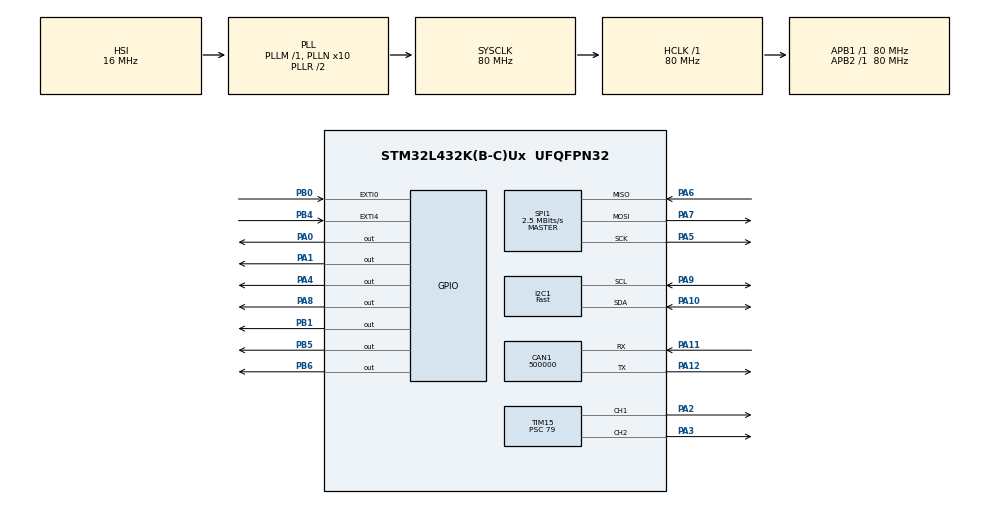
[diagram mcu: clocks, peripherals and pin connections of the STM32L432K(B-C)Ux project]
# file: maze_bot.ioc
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CAN1.BS1=CAN_BS1_5TQ
CAN1.BS2=CAN_BS2_4TQ
CAN1.CalculateBaudRate=500000
CAN1.CalculateTimeBit=2000
CAN1.CalculateTimeQuantum=200.0
Dma.Request0=SPI1_RX
Dma.Request1=SPI1_TX
Dma.Request2=TIM15_CH1/UP/TRIG/COM
Dma.SPI1_RX.0.Direction=DMA_PERIPH_TO_MEMORY
Dma.SPI1_RX.0.Instance=DMA2_Channel3
Dma.SPI1_RX.0.MemDataAlignment=DMA_MDATAALIGN_BYTE
Dma.SPI1_RX.0.MemInc=DMA_MINC_ENABLE
Dma.SPI1_RX.0.Mode=DMA_NORMAL
Dma.SPI1_RX.0.PeriphDataAlignment=DMA_PDATAALIGN_BYTE
Dma.SPI1_RX.0.PeriphInc=DMA_PINC_DISABLE
Dma.SPI1_RX.0.Priority=DMA_PRIORITY_LOW
Dma.SPI1_TX.1.Direction=DMA_MEMORY_TO_PERIPH
Dma.SPI1_TX.1.Instance=DMA2_Channel4
Dma.SPI1_TX.1.MemDataAlignment=DMA_MDATAALIGN_BYTE
Dma.SPI1_TX.1.MemInc=DMA_MINC_ENABLE
Dma.SPI1_TX.1.Mode=DMA_NORMAL
Dma.SPI1_TX.1.PeriphDataAlignment=DMA_PDATAALIGN_BYTE
Dma.SPI1_TX.1.PeriphInc=DMA_PINC_DISABLE
Dma.SPI1_TX.1.Priority=DMA_PRIORITY_LOW
Dma.TIM15_CH1/UP/TRIG/COM.2.Direction=DMA_MEMORY_TO_PERIPH
Dma.TIM15_CH1/UP/TRIG/COM.2.Instance=DMA1_Channel5
Dma.TIM15_CH1/UP/TRIG/COM.2.MemDataAlignment=DMA_MDATAALIGN_HALFWORD
Dma.TIM15_CH1/UP/TRIG/COM.2.MemInc=DMA_MINC_ENABLE
Dma.TIM15_CH1/UP/TRIG/COM.2.Mode=DMA_CIRCULAR
Dma.TIM15_CH1/UP/TRIG/COM.2.PeriphDataAlignment=DMA_PDATAALIGN_HALFWORD
Dma.TIM15_CH1/UP/TRIG/COM.2.PeriphInc=DMA_PINC_DISABLE
Dma.TIM15_CH1/UP/TRIG/COM.2.Priority=DMA_PRIORITY_LOW
I2C1.I2C_Speed_Mode=I2C_Fast
I2C1.Timing=0x00F12981
Mcu.Family=STM32L4
Mcu.Name=STM32L432K(B-C)Ux
Mcu.Package=UFQFPN32
NVIC.CAN1_RX0_IRQn=true\:0\:0\:false\:false\:true\:true\:true\:true
NVIC.CAN1_RX1_IRQn=true\:0\:0\:false\:false\:true\:true\:true\:true
NVIC.DMA1_Channel5_IRQn=true\:0\:0\:false\:false\:true\:false\:true\:true
NVIC.DMA2_Channel3_IRQn=true\:0\:0\:true\:false\:true\:false\:true\:true
NVIC.DMA2_Channel4_IRQn=true\:0\:0\:false\:false\:true\:false\:true\:true
NVIC.EXTI0_IRQn=true\:0\:0\:true\:false\:true\:true\:true\:true
NVIC.EXTI4_IRQn=true\:0\:0\:true\:false\:true\:true\:true\:true
NVIC.PriorityGroup=NVIC_PRIORITYGROUP_4
PA0.Signal=GPIO_Output
PA1.PinState=GPIO_PIN_SET
PA1.Signal=GPIO_Output
PA10.Mode=I2C
PA10.Signal=I2C1_SDA
PA11.Mode=CAN_Activate
PA11.Signal=CAN1_RX
PA12.Mode=CAN_Activate
PA12.Signal=CAN1_TX
PA13\ (JTMS-SWDIO).Mode=Trace_Asynchronous_SW
PA13\ (JTMS-SWDIO).Signal=SYS_JTMS-SWDIO
PA14\ (JTCK-SWCLK).Mode=Trace_Asynchronous_SW
PA14\ (JTCK-SWCLK).Signal=SYS_JTCK-SWCLK
PA2.Signal=S_TIM15_CH1
PA3.Signal=S_TIM15_CH2
PA4.PinState=GPIO_PIN_SET
PA4.Signal=GPIO_Output
PA5.Mode=Full_Duplex_Master
PA5.Signal=SPI1_SCK
PA6.Mode=Full_Duplex_Master
PA6.Signal=SPI1_MISO
PA7.Mode=Full_Duplex_Master
PA7.Signal=SPI1_MOSI
PA8.Signal=GPIO_Output
PA9.Mode=I2C
PA9.Signal=I2C1_SCL
PB0.GPIO_ModeDefaultEXTI=GPIO_MODE_IT_FALLING
PB0.GPIO_PuPd=GPIO_PULLUP
PB0.Signal=GPXTI0
PB1.PinState=GPIO_PIN_SET
PB1.Signal=GPIO_Output
PB3\ (JTDO-TRACESWO).Mode=Trace_Asynchronous_SW
PB3\ (JTDO-TRACESWO).Signal=SYS_JTDO-SWO
PB4\ (NJTRST).GPIO_ModeDefaultEXTI=GPIO_MODE_IT_FALLING
PB4\ (NJTRST).GPIO_PuPd=GPIO_NOPULL
PB4\ (NJTRST).Signal=GPXTI4
PB5.GPIO_PuPd=GPIO_NOPULL
PB5.PinState=GPIO_PIN_SET
PB5.Signal=GPIO_Output
PB6.Signal=GPIO_Output
ProjectManager.HeapSize=0x200
ProjectManager.StackSize=0x400
ProjectManager.TargetToolchain=CMake
RCC.ADCFreq_Value=64000000
RCC.AHBFreq_Value=80000000
RCC.APB1Freq_Value=80000000
RCC.APB1TimFreq_Value=80000000
RCC.APB2Freq_Value=80000000
RCC.APB2TimFreq_Value=80000000
RCC.CortexFreq_Value=80000000
RCC.HCLKFreq_Value=80000000
RCC.HSE_VALUE=8000000
RCC.HSI16_VALUE=16000000
RCC.HSI48_VALUE=48000000
RCC.HSI_VALUE=16000000
RCC.LSE_VALUE=32768
RCC.MSI_VALUE=4000000
RCC.PLLMUL=RCC_PLLMUL_4
RCC.PLLN=10
RCC.PLLSourceVirtual=RCC_PLLSOURCE_HSI
RCC.SYSCLKFreq_VALUE=80000000
RCC.SYSCLKSource=RCC_SYSCLKSOURCE_PLLCLK
RCC.USBFreq_Value=64000000
RCC.VCOOutputFreq_Value=160000000
SH.S_TIM15_CH1.0=TIM15_CH1,PWM Generation1 CH1
SH.S_TIM15_CH2.0=TIM15_CH2,PWM Generation2 CH2
SPI1.BaudRatePrescaler=SPI_BAUDRATEPRESCALER_32
SPI1.CLKPhase=SPI_PHASE_2EDGE
SPI1.CLKPolarity=SPI_POLARITY_HIGH
SPI1.CalculateBaudRate=2.5 MBits/s
SPI1.DataSize=SPI_DATASIZE_8BIT
SPI1.Direction=SPI_DIRECTION_2LINES
SPI1.Mode=SPI_MODE_MASTER
SPI1.VirtualType=VM_MASTER
TIM15.Channel-PWM\ Generation1\ CH1=TIM_CHANNEL_1
TIM15.Channel-PWM\ Generation2\ CH2=TIM_CHANNEL_2
TIM15.Period=100-1
TIM15.Prescaler=79
TIM2.Channel-PWM\ Generation1\ No\ Output=TIM_CHANNEL_1
TIM2.Prescaler=79
VP_TIM2_VS_no_output1.Mode=PWM Generation1 No Output
board=NUCLEO-L432KC

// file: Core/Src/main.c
/* USER CODE BEGIN Header */
/**
  ******************************************************************************
  * @file           : main.c
  * @brief          : Main program body
  ******************************************************************************
  * @attention
  *
  * Copyright (c) 2025 STMicroelectronics.
  * All rights reserved.
  *
  * This software is licensed under terms that can be found in the LICENSE file
  * in the root directory of this software component.
  * If no LICENSE file comes with this software, it is provided AS-IS.
  *
  ******************************************************************************
  */
/* USER CODE END Header */
#include "main.h"

/* USER CODE BEGIN Includes */
#include "bno085_runner.h"
#include "can.h"
#include "controls.h"
#include "drive.h"
#include "h_bridge_control.h"
#include "scheduler.h"
#include "state_machine.h"
#include "vl53l4cd_runner.h"
/* USER CODE END Includes */

CAN_HandleTypeDef hcan1;

I2C_HandleTypeDef hi2c1;

SPI_HandleTypeDef hspi1;
DMA_HandleTypeDef hdma_spi1_rx;
DMA_HandleTypeDef hdma_spi1_tx;

TIM_HandleTypeDef htim2;
TIM_HandleTypeDef htim15;
DMA_HandleTypeDef hdma_tim15_ch1_up_trig_com;

void SystemClock_Config(void);
static void MX_GPIO_Init(void);
static void MX_DMA_Init(void);
static void MX_SPI1_Init(void);
static void MX_TIM2_Init(void);
static void MX_I2C1_Init(void);
static void MX_TIM15_Init(void);
static void MX_CAN1_Init(void);

int main(void)
{

  /* MCU Configuration--------------------------------------------------------*/

  /* Reset of all peripherals, Initializes the Flash interface and the Systick. */
  HAL_Init();

  /* Configure the system clock */
  SystemClock_Config();

  /* Initialize all configured peripherals */
  MX_GPIO_Init();
  MX_DMA_Init();
  MX_SPI1_Init();
  MX_TIM2_Init();
  MX_I2C1_Init();
  MX_TIM15_Init();
  MX_CAN1_Init();

  /* Infinite loop */
  /* USER CODE BEGIN WHILE */
  HAL_Delay(1000);

  // Initialize CAN bus.
  can_init();

  // Initialize VL53L4CD.
  vl53l4cd_init();
  vl53l4cd_start();

  HAL_NVIC_DisableIRQ(EXTI4_IRQn);

  // Initialize scheduler (required for timers).
  scheduler_init();

  // Initialize BNO085.
  bno085_reset();
  bno085_init();

  // Initialize motor driver.
  h_bridge_command_init();

  // Initialize control loops.
  control_loops_init();

  // Initialize scheduler tasks.
  void (*heading_task)(void) = heading_loop;
  void (*yaw_rate_task)(void) = yaw_rate_loop;
  void (*state_machine_task)(void) = run_state_machine;
  void (*drive_task)(void) = drive;
  void (*tof_task)(void) = vl53l4cd_process;
  scheduler_add_task(heading_task, 10);
  scheduler_add_task(yaw_rate_task, 5);
  scheduler_add_task(state_machine_task, 10);
  scheduler_add_task(drive_task, 2);
  scheduler_add_task(tof_task, 100);

  HAL_NVIC_EnableIRQ(EXTI4_IRQn);

  while (1) {
    bno085_run();
    scheduler_run();
    /* USER CODE END WHILE */

  }
}

void SystemClock_Config(void)
{
  RCC_OscInitTypeDef RCC_OscInitStruct = {0};
  RCC_ClkInitTypeDef RCC_ClkInitStruct = {0};

  /** Configure the main internal regulator output voltage
  */
  if (HAL_PWREx_ControlVoltageScaling(PWR_REGULATOR_VOLTAGE_SCALE1) != HAL_OK)
  {
    Error_Handler();
  }

  /** Initializes the RCC Oscillators according to the specified parameters
  * in the RCC_OscInitTypeDef structure.
  */
  RCC_OscInitStruct.OscillatorType = RCC_OSCILLATORTYPE_HSI;
  RCC_OscInitStruct.HSIState = RCC_HSI_ON;
  RCC_OscInitStruct.HSICalibrationValue = RCC_HSICALIBRATION_DEFAULT;
  RCC_OscInitStruct.PLL.PLLState = RCC_PLL_ON;
  RCC_OscInitStruct.PLL.PLLSource = RCC_PLLSOURCE_HSI;
  RCC_OscInitStruct.PLL.PLLM = 1;
  RCC_OscInitStruct.PLL.PLLN = 10;
  RCC_OscInitStruct.PLL.PLLP = RCC_PLLP_DIV7;
  RCC_OscInitStruct.PLL.PLLQ = RCC_PLLQ_DIV2;
  RCC_OscInitStruct.PLL.PLLR = RCC_PLLR_DIV2;
  if (HAL_RCC_OscConfig(&RCC_OscInitStruct) != HAL_OK)
  {
    Error_Handler();
  }

  /** Initializes the CPU, AHB and APB buses clocks
  */
  RCC_ClkInitStruct.ClockType = RCC_CLOCKTYPE_HCLK|RCC_CLOCKTYPE_SYSCLK
                              |RCC_CLOCKTYPE_PCLK1|RCC_CLOCKTYPE_PCLK2;
  RCC_ClkInitStruct.SYSCLKSource = RCC_SYSCLKSOURCE_PLLCLK;
  RCC_ClkInitStruct.AHBCLKDivider = RCC_SYSCLK_DIV1;
  RCC_ClkInitStruct.APB1CLKDivider = RCC_HCLK_DIV1;
  RCC_ClkInitStruct.APB2CLKDivider = RCC_HCLK_DIV1;

  if (HAL_RCC_ClockConfig(&RCC_ClkInitStruct, FLASH_LATENCY_4) != HAL_OK)
  {
    Error_Handler();
  }
}

static void MX_CAN1_Init(void)
{

  hcan1.Instance = CAN1;
  hcan1.Init.Prescaler = 16;
  hcan1.Init.Mode = CAN_MODE_NORMAL;
  hcan1.Init.SyncJumpWidth = CAN_SJW_1TQ;
  hcan1.Init.TimeSeg1 = CAN_BS1_5TQ;
  hcan1.Init.TimeSeg2 = CAN_BS2_4TQ;
  hcan1.Init.TimeTriggeredMode = DISABLE;
  hcan1.Init.AutoBusOff = DISABLE;
  hcan1.Init.AutoWakeUp = DISABLE;
  hcan1.Init.AutoRetransmission = DISABLE;
  hcan1.Init.ReceiveFifoLocked = DISABLE;
  hcan1.Init.TransmitFifoPriority = DISABLE;
  if (HAL_CAN_Init(&hcan1) != HAL_OK)
  {
    Error_Handler();
  }

}

static void MX_I2C1_Init(void)
{

  hi2c1.Instance = I2C1;
  hi2c1.Init.Timing = 0x00F12981;
  hi2c1.Init.OwnAddress1 = 0;
  hi2c1.Init.AddressingMode = I2C_ADDRESSINGMODE_7BIT;
  hi2c1.Init.DualAddressMode = I2C_DUALADDRESS_DISABLE;
  hi2c1.Init.OwnAddress2 = 0;
  hi2c1.Init.OwnAddress2Masks = I2C_OA2_NOMASK;
  hi2c1.Init.GeneralCallMode = I2C_GENERALCALL_DISABLE;
  hi2c1.Init.NoStretchMode = I2C_NOSTRETCH_DISABLE;
  if (HAL_I2C_Init(&hi2c1) != HAL_OK)
  {
    Error_Handler();
  }

  /** Configure Analogue filter
  */
  if (HAL_I2CEx_ConfigAnalogFilter(&hi2c1, I2C_ANALOGFILTER_ENABLE) != HAL_OK)
  {
    Error_Handler();
  }

  /** Configure Digital filter
  */
  if (HAL_I2CEx_ConfigDigitalFilter(&hi2c1, 0) != HAL_OK)
  {
    Error_Handler();
  }

}

static void MX_SPI1_Init(void)
{

  /* SPI1 parameter configuration*/
  hspi1.Instance = SPI1;
  hspi1.Init.Mode = SPI_MODE_MASTER;
  hspi1.Init.Direction = SPI_DIRECTION_2LINES;
  hspi1.Init.DataSize = SPI_DATASIZE_8BIT;
  hspi1.Init.CLKPolarity = SPI_POLARITY_HIGH;
  hspi1.Init.CLKPhase = SPI_PHASE_2EDGE;
  hspi1.Init.NSS = SPI_NSS_SOFT;
  hspi1.Init.BaudRatePrescaler = SPI_BAUDRATEPRESCALER_32;
  hspi1.Init.FirstBit = SPI_FIRSTBIT_MSB;
  hspi1.Init.TIMode = SPI_TIMODE_DISABLE;
  hspi1.Init.CRCCalculation = SPI_CRCCALCULATION_DISABLE;
  hspi1.Init.CRCPolynomial = 7;
  hspi1.Init.CRCLength = SPI_CRC_LENGTH_DATASIZE;
  hspi1.Init.NSSPMode = SPI_NSS_PULSE_DISABLE;
  if (HAL_SPI_Init(&hspi1) != HAL_OK)
  {
    Error_Handler();
  }

}

static void MX_TIM2_Init(void)
{

  TIM_MasterConfigTypeDef sMasterConfig = {0};
  TIM_OC_InitTypeDef sConfigOC = {0};

  htim2.Instance = TIM2;
  htim2.Init.Prescaler = 79;
  htim2.Init.CounterMode = TIM_COUNTERMODE_UP;
  htim2.Init.Period = 4294967295;
  htim2.Init.ClockDivision = TIM_CLOCKDIVISION_DIV1;
  htim2.Init.AutoReloadPreload = TIM_AUTORELOAD_PRELOAD_DISABLE;
  if (HAL_TIM_PWM_Init(&htim2) != HAL_OK)
  {
    Error_Handler();
  }
  sMasterConfig.MasterOutputTrigger = TIM_TRGO_RESET;
  sMasterConfig.MasterSlaveMode = TIM_MASTERSLAVEMODE_DISABLE;
  if (HAL_TIMEx_MasterConfigSynchronization(&htim2, &sMasterConfig) != HAL_OK)
  {
    Error_Handler();
  }
  sConfigOC.OCMode = TIM_OCMODE_PWM1;
  sConfigOC.Pulse = 0;
  sConfigOC.OCPolarity = TIM_OCPOLARITY_HIGH;
  sConfigOC.OCFastMode = TIM_OCFAST_DISABLE;
  if (HAL_TIM_PWM_ConfigChannel(&htim2, &sConfigOC, TIM_CHANNEL_1) != HAL_OK)
  {
    Error_Handler();
  }

}

static void MX_TIM15_Init(void)
{

  TIM_MasterConfigTypeDef sMasterConfig = {0};
  TIM_OC_InitTypeDef sConfigOC = {0};
  TIM_BreakDeadTimeConfigTypeDef sBreakDeadTimeConfig = {0};

  htim15.Instance = TIM15;
  htim15.Init.Prescaler = 79;
  htim15.Init.CounterMode = TIM_COUNTERMODE_UP;
  htim15.Init.Period = 100-1;
  htim15.Init.ClockDivision = TIM_CLOCKDIVISION_DIV1;
  htim15.Init.RepetitionCounter = 0;
  htim15.Init.AutoReloadPreload = TIM_AUTORELOAD_PRELOAD_DISABLE;
  if (HAL_TIM_PWM_Init(&htim15) != HAL_OK)
  {
    Error_Handler();
  }
  sMasterConfig.MasterOutputTrigger = TIM_TRGO_RESET;
  sMasterConfig.MasterSlaveMode = TIM_MASTERSLAVEMODE_DISABLE;
  if (HAL_TIMEx_MasterConfigSynchronization(&htim15, &sMasterConfig) != HAL_OK)
  {
    Error_Handler();
  }
  sConfigOC.OCMode = TIM_OCMODE_PWM1;
  sConfigOC.Pulse = 0;
  sConfigOC.OCPolarity = TIM_OCPOLARITY_HIGH;
  sConfigOC.OCNPolarity = TIM_OCNPOLARITY_HIGH;
  sConfigOC.OCFastMode = TIM_OCFAST_DISABLE;
  sConfigOC.OCIdleState = TIM_OCIDLESTATE_RESET;
  sConfigOC.OCNIdleState = TIM_OCNIDLESTATE_RESET;
  if (HAL_TIM_PWM_ConfigChannel(&htim15, &sConfigOC, TIM_CHANNEL_1) != HAL_OK)
  {
    Error_Handler();
  }
  if (HAL_TIM_PWM_ConfigChannel(&htim15, &sConfigOC, TIM_CHANNEL_2) != HAL_OK)
  {
    Error_Handler();
  }
  sBreakDeadTimeConfig.OffStateRunMode = TIM_OSSR_DISABLE;
  sBreakDeadTimeConfig.OffStateIDLEMode = TIM_OSSI_DISABLE;
  sBreakDeadTimeConfig.LockLevel = TIM_LOCKLEVEL_OFF;
  sBreakDeadTimeConfig.DeadTime = 0;
  sBreakDeadTimeConfig.BreakState = TIM_BREAK_DISABLE;
  sBreakDeadTimeConfig.BreakPolarity = TIM_BREAKPOLARITY_HIGH;
  sBreakDeadTimeConfig.AutomaticOutput = TIM_AUTOMATICOUTPUT_DISABLE;
  if (HAL_TIMEx_ConfigBreakDeadTime(&htim15, &sBreakDeadTimeConfig) != HAL_OK)
  {
    Error_Handler();
  }
  HAL_TIM_MspPostInit(&htim15);

}

static void MX_DMA_Init(void)
{

  /* DMA controller clock enable */
  __HAL_RCC_DMA2_CLK_ENABLE();
  __HAL_RCC_DMA1_CLK_ENABLE();

  /* DMA interrupt init */
  /* DMA1_Channel5_IRQn interrupt configuration */
  HAL_NVIC_SetPriority(DMA1_Channel5_IRQn, 0, 0);
  HAL_NVIC_EnableIRQ(DMA1_Channel5_IRQn);
  /* DMA2_Channel3_IRQn interrupt configuration */
  HAL_NVIC_SetPriority(DMA2_Channel3_IRQn, 0, 0);
  HAL_NVIC_EnableIRQ(DMA2_Channel3_IRQn);
  /* DMA2_Channel4_IRQn interrupt configuration */
  HAL_NVIC_SetPriority(DMA2_Channel4_IRQn, 0, 0);
  HAL_NVIC_EnableIRQ(DMA2_Channel4_IRQn);

}

static void MX_GPIO_Init(void)
{
  GPIO_InitTypeDef GPIO_InitStruct = {0};

  /* GPIO Ports Clock Enable */
  __HAL_RCC_GPIOA_CLK_ENABLE();
  __HAL_RCC_GPIOB_CLK_ENABLE();

  /*Configure GPIO pin Output Level */
  HAL_GPIO_WritePin(GPIOA, GPIO_PIN_0|GPIO_PIN_8, GPIO_PIN_RESET);

  /*Configure GPIO pin Output Level */
  HAL_GPIO_WritePin(GPIOA, GPIO_PIN_1|GPIO_PIN_4, GPIO_PIN_SET);

  /*Configure GPIO pin Output Level */
  HAL_GPIO_WritePin(GPIOB, GPIO_PIN_1|GPIO_PIN_5, GPIO_PIN_SET);

  /*Configure GPIO pin Output Level */
  HAL_GPIO_WritePin(GPIOB, GPIO_PIN_6, GPIO_PIN_RESET);

  /*Configure GPIO pins : PA0 PA1 PA4 PA8 */
  GPIO_InitStruct.Pin = GPIO_PIN_0|GPIO_PIN_1|GPIO_PIN_4|GPIO_PIN_8;
  GPIO_InitStruct.Mode = GPIO_MODE_OUTPUT_PP;
  GPIO_InitStruct.Pull = GPIO_NOPULL;
  GPIO_InitStruct.Speed = GPIO_SPEED_FREQ_LOW;
  HAL_GPIO_Init(GPIOA, &GPIO_InitStruct);

  /*Configure GPIO pin : PB0 */
  GPIO_InitStruct.Pin = GPIO_PIN_0;
  GPIO_InitStruct.Mode = GPIO_MODE_IT_FALLING;
  GPIO_InitStruct.Pull = GPIO_PULLUP;
  HAL_GPIO_Init(GPIOB, &GPIO_InitStruct);

  /*Configure GPIO pins : PB1 PB5 PB6 */
  GPIO_InitStruct.Pin = GPIO_PIN_1|GPIO_PIN_5|GPIO_PIN_6;
  GPIO_InitStruct.Mode = GPIO_MODE_OUTPUT_PP;
  GPIO_InitStruct.Pull = GPIO_NOPULL;
  GPIO_InitStruct.Speed = GPIO_SPEED_FREQ_LOW;
  HAL_GPIO_Init(GPIOB, &GPIO_InitStruct);

  /*Configure GPIO pin : PB4 */
  GPIO_InitStruct.Pin = GPIO_PIN_4;
  GPIO_InitStruct.Mode = GPIO_MODE_IT_FALLING;
  GPIO_InitStruct.Pull = GPIO_NOPULL;
  HAL_GPIO_Init(GPIOB, &GPIO_InitStruct);

  /* EXTI interrupt init*/
  HAL_NVIC_SetPriority(EXTI0_IRQn, 0, 0);
  HAL_NVIC_EnableIRQ(EXTI0_IRQn);

  HAL_NVIC_SetPriority(EXTI4_IRQn, 0, 0);
  HAL_NVIC_EnableIRQ(EXTI4_IRQn);

}

void Error_Handler(void)
{
  __disable_irq();
  while (1)
  {
  }
}
